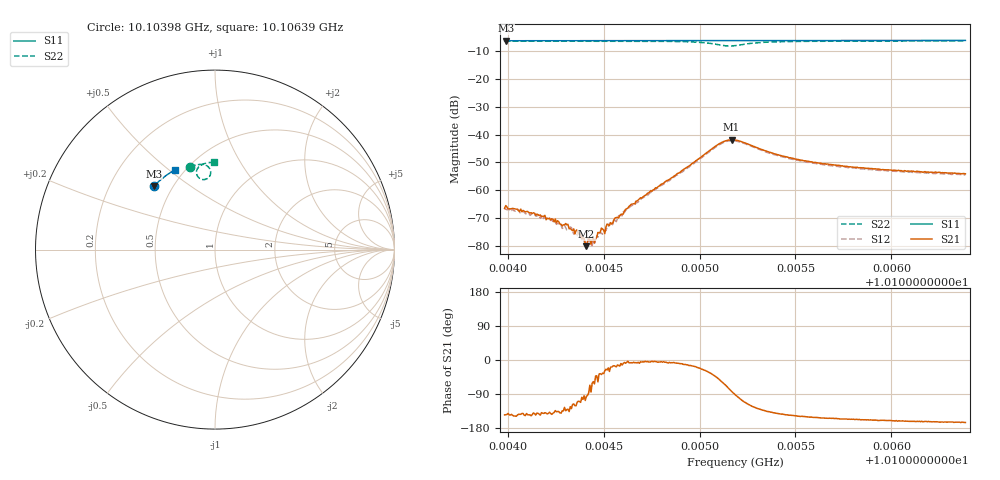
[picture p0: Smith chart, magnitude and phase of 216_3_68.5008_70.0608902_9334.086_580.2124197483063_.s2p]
#  HZ  S  RI  R  50.00
! Rohde & Schwarz Vector Network Analyzer
! Rohde-Schwarz,ZNB20-2Port,1311601062101988,3.16
! Created: UTC 3/20/2024, 5:13:22 PM
! freq[Hz]  re:S11  im:S11  re:S21  im:S21  re:S12  im:S12  re:S22  im:S22
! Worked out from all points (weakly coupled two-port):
!   401 points, 10.10398 GHz to 10.10639 GHz, reference 50 ohm
!   highest |S21| = -41.88 dB at 10.10517 GHz (marker M1); lowest = -80.2 dB at 10.10441 GHz (marker M2)
!   lowest |S11| = -6.2 dB at 10.10399 GHz (marker M3), VSWR 2.93, Z = 19.8 + j18.5 ohm
!   |S11| at or under -10 dB: nowhere
!   |S22| runs from -8.1 to -6.2 dB; largest |S21 - S12| = 0.00086
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1.0103982e10  -0.3398 0.3542  -0.000381 -0.000268  -0.000356 -0.000281  -0.1391 0.4625
1.0103988e10  -0.3395 0.3544  -0.000427 -0.000305  -0.00036 -0.000278  -0.1386 0.4626
1.0104205e10  -0.33 0.3639  -0.000245 -0.00019  -0.000199 -0.000223  -0.1236 0.4674
1.0104283e10  -0.3268 0.3672  -0.000156 -0.000161  -0.000124 -0.000162  -0.1179 0.4688
1.0104301e10  -0.3259 0.368  -0.000173 -0.000179  -0.000146 -0.00015  -0.1165 0.469
1.0104325e10  -0.325 0.3688  -0.000111 -0.000168  -0.000116 -0.000182  -0.1147 0.4696
1.0104367e10  -0.3231 0.3708  -5.41e-05 -0.00016  -6.33e-05 -0.000164  -0.1116 0.4705
1.0104385e10  -0.3224 0.3714  -1.97e-05 -0.000132  -3.29e-05 -0.000123  -0.1101 0.4707
1.0104397e10  -0.3217 0.372  -1.06e-05 -0.000135  -1.93e-05 -0.000116  -0.109 0.471
1.0104409e10  -0.3213 0.3724  -9.62e-06 -9.69e-05  2.23e-05 -0.000118  -0.1082 0.4713
1.0104445e10  -0.3196 0.374  7.44e-05 -0.000114  6.61e-05 -0.000111  -0.1054 0.4716
1.0104481e10  -0.318 0.3753  0.00014 -0.000102  0.000153 -8.08e-05  -0.1023 0.4724
1.0104517e10  -0.3164 0.3771  0.000219 -0.000108  0.000206 -6.02e-05  -0.0993 0.4729
1.0104638e10  -0.311 0.3819  0.000524 -6.91e-05  0.0005 -2.94e-05  -0.0883 0.4743
1.0104788e10  -0.304 0.388  0.00117 -0.000112  0.00114 1.35e-05  -0.0715 0.4747
1.0105094e10  -0.2892 0.3993  0.00439 -0.00485  0.00465 -0.00424  -0.0257 0.4181
1.0105166e10  -0.2862 0.4018  0.00102 -0.00799  0.00176 -0.00756  -0.0653 0.39
1.0105184e10  -0.2854 0.4024  -0.000177 -0.00797  0.000587 -0.00768  -0.0782 0.3928
1.0105401e10  -0.2753 0.4106  -0.00339 -0.00279  -0.00302 -0.00298  -0.0907 0.4607
1.0105587e10  -0.266 0.4172  -0.0028 -0.00154  -0.00254 -0.00173  -0.0693 0.4749
1.010599e10  -0.2455 0.4308  -0.00216 -0.00079  -0.002 -0.000938  -0.0351 0.4845
1.0106386e10  -0.2249 0.443  -0.0019 -0.000512  -0.00177 -0.000638  -0.00642 0.4878
